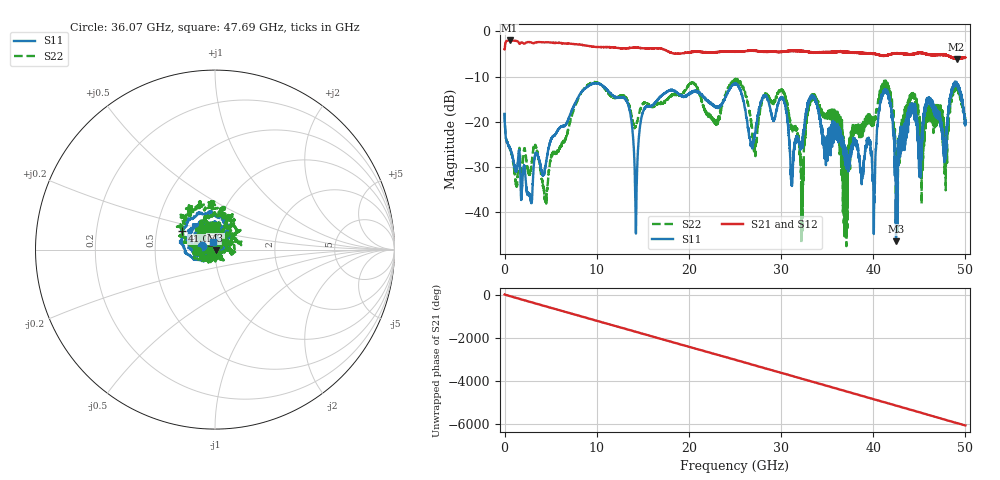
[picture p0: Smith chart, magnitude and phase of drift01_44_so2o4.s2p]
!Created with skrf (http://scikit-rf.org).
# Hz S RI R 50.0
!freq ReS11 ImS11 ReS21 ImS21 ReS12 ImS12 ReS22 ImS22
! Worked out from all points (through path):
!   10001 points, 300 kHz to 50 GHz, reference 50 ohm
!   highest |S21| = -2.00 dB at 540.3 MHz (marker M1); lowest = -6.1 dB at 49.05 GHz (marker M2)
!   group delay of S21, straight-line fit = 336 ps
!   lowest |S11| = -46.5 dB at 42.48 GHz (marker M3), VSWR 1.01, Z = 50.3 - j0.332 ohm
!   |S11| at or under -10 dB: start of sweep to end of sweep
!   |S22| runs from -47.6 to -10.5 dB; largest |S21 - S12| = 0.021
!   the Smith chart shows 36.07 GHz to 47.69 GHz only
!   S11 on the Smith chart (normalised r, x): 36.07 GHz: 0.86, +0.03; 41.07 GHz: 0.68, +0.15; 47.69 GHz: 0.98, +0.08
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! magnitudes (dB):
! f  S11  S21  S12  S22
! 300 kHz  -18.3  -4.0  -4.1  -18.1
! 540.3 MHz  -25.8  -2.0  -2.0  -25.9
! 4.435 GHz  -29.9  -2.4  -2.4  -37.0
! 8.335 GHz  -13.5  -3.0  -3.0  -13.5
! 13.16 GHz  -15.2  -3.8  -3.8  -14.6
! 14.25 GHz  -44.8  -3.6  -3.6  -21.1
! 16.67 GHz  -14.9  -3.7  -3.7  -15.9
! 25 GHz  -11.6  -4.5  -4.6  -11.1
! 27.14 GHz  -22.7  -4.3  -4.3  -25.6
! 30.2 GHz  -15.1  -4.5  -4.5  -13.3
! 32.23 GHz  -24.7  -4.4  -4.4  -41.3
! 33.34 GHz  -14.3  -4.7  -4.6  -14.8
! 36.07 GHz  -22.3  -4.6  -4.5  -19.7
! 37.03 GHz  -26.8  -4.5  -4.6  -35.1
! 40.06 GHz  -44.1  -5.0  -5.0  -20.5
! 41.07 GHz  -13.5  -5.4  -5.3  -12.0
! 41.67 GHz  -14.4  -5.1  -5.2  -12.6
! 42.48 GHz  -46.5  -4.8  -4.8  -32.5
! 44.17 GHz  -17.5  -5.0  -5.1  -13.9
! 47.69 GHz  -27.7  -5.2  -5.2  -22.9
! 49.05 GHz  -11.7  -6.1  -6.1  -12.3
! 50 GHz  -19.6  -5.8  -5.8  -19.9
